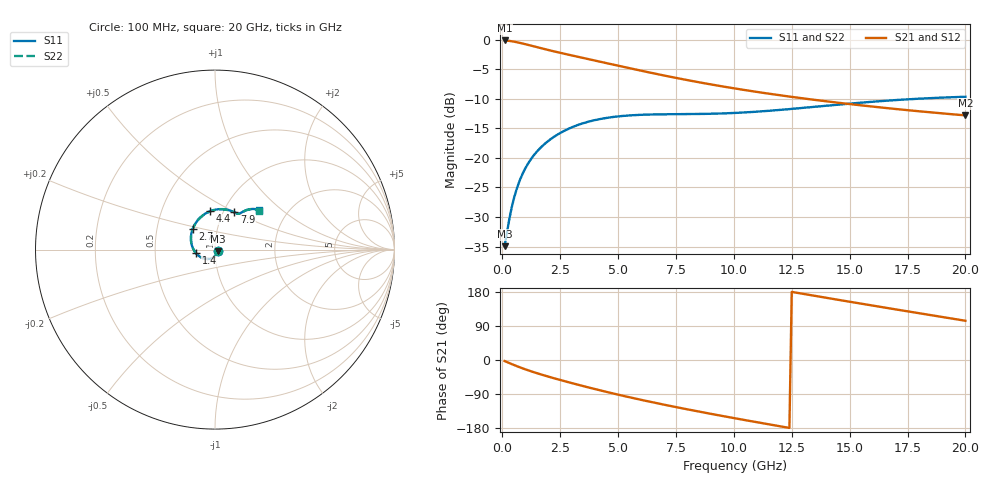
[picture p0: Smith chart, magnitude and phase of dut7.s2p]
! Touchstone file exported from HFSS 2023.1.0
!  File:  D:/Users/fzz/RDL_TSV/temp_RDL_TSV_7_1778742341.aedt
!  Generated:  3:15:40 %x4E0B%x5348  5%x6708 14, 2026
!  Design:  RDL_TSV
!  Project:  temp_RDL_TSV_7_1778742341
!  Setup:  Setup1
!  Solution:  Sweep
! Variables:
!  dtsv = 19.44um
!  hbump = 3um
!  htsv = 93.51um
!  ldown = 675.4um
!  lrdl = 310.63um
!  p = 40
!  p1 = 59.68um
!  rhole = 10um
!  subl = 3268.72um
!  t = 450um
!  tdown = 4.01um
!  trdl = 2.41um
!  viad = 10um
!  wdown = 27.31um
!  wrdl = 20.36um
!  xbump = 18um
# GHz S MA R 50.000000
! Terminal data exported
! Port[1] = TM1_1_T1
! Port[2] = TM1_4_T1
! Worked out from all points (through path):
!   200 points, 100 MHz to 20 GHz, reference 50 ohm
!   highest |S21| = -0.15 dB at 100 MHz (marker M1); lowest = -12.8 dB at 20 GHz (marker M2)
!   group delay of S21, straight-line fit = 33.3 ps
!   lowest |S11| = -34.9 dB at 100 MHz (marker M3), VSWR 1.04, Z = 51.5 - j1.02 ohm
!   |S11| at or under -10 dB: start of sweep to 17.97 GHz
!   |S22| runs from -34.9 to -9.7 dB; largest |S21 - S12| = 1.4e-14
!   S11 on the Smith chart (normalised r, x): 100 MHz: 1.03, -0.02; 1.4 GHz: 0.81, -0.03; 2.7 GHz: 0.76, +0.18; 4.4 GHz: 0.87, +0.39; 7.9 GHz: 1.13, +0.50; 20 GHz: 1.44, +0.71
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0.1  0.01793 -33.5  0.9829 -2.7  0.9829 -2.7  0.01793 -33.5
! Gamma 0 0 0 0
! Port Impedance 50 0 50 0
0.3  0.03011 -76.7  0.9746 -8.0  0.9746 -8.0  0.03011 -76.7
0.4  0.0376 -90.7  0.9683 -10.6  0.9683 -10.6  0.0376 -90.7
0.6  0.05294 -112.3  0.9527 -15.6  0.9527 -15.6  0.05294 -112.3
0.9  0.07501 -137.2  0.9239 -22.5  0.9239 -22.5  0.07496 -137.1
1.1  0.08865 -151.0  0.9031 -26.9  0.9031 -26.9  0.08856 -150.9
1.4  0.1074 -169.0  0.8719 -33.0  0.8719 -33.0  0.1073 -168.9
2  0.1398 162.1  0.8148 -44.1  0.8148 -44.1  0.1394 162.2
2.7  0.1702 136.7  0.7571 -56.0  0.7571 -56.0  0.1696 136.8
3.5  0.1965 114.9  0.6987 -69.0  0.6987 -69.0  0.1955 115.0
4.4  0.216 96.7  0.6387 -82.7  0.6387 -82.7  0.2149 96.8
5.6  0.2292 79.7  0.567 -99.8  0.567 -99.8  0.2278 79.8
6.8  0.2333 68.8  0.5055 -115.6  0.5055 -115.6  0.2318 68.8
7.9  0.2343 62.5  0.458 -129.1  0.458 -129.1  0.2327 62.5
9  0.2359 58.8  0.4181 -142.0  0.4181 -142.0  0.2343 58.8
10.1  0.2401 56.6  0.3845 -154.4  0.3845 -154.4  0.2385 56.7
11.6  0.2507 54.9  0.3468 -170.7  0.3468 -170.7  0.249 54.9
13.4  0.2692 53.0  0.3108 170.3  0.3108 170.3  0.2673 53.0
15  0.2874 50.8  0.285 153.8  0.285 153.8  0.2853 50.7
16.7  0.3053 47.9  0.2623 136.5  0.2623 136.5  0.303 47.8
18.3  0.3187 44.9  0.2445 120.4  0.2445 120.4  0.3162 44.9
20  0.3284 41.9  0.2287 103.5  0.2287 103.5  0.3257 41.9
